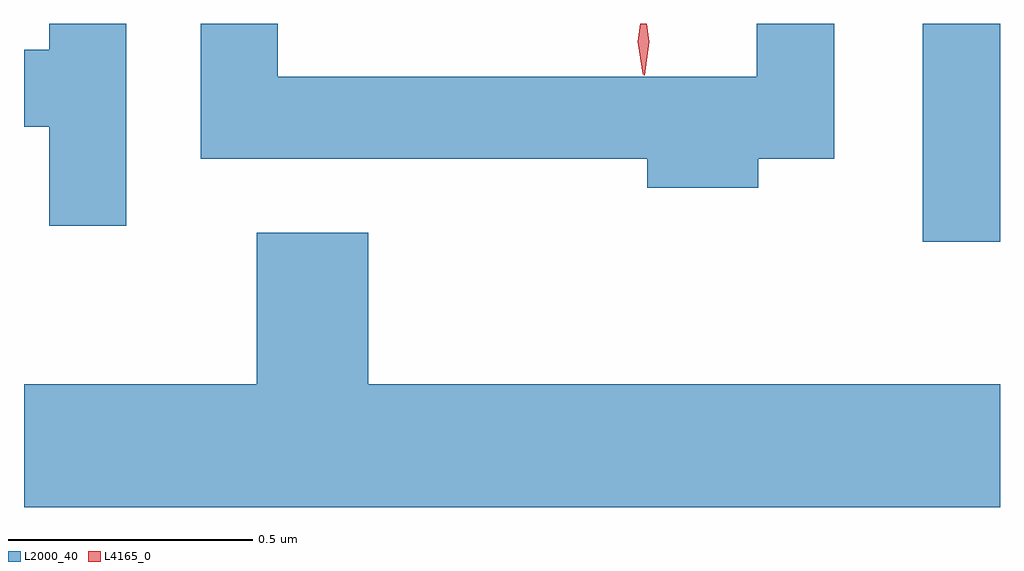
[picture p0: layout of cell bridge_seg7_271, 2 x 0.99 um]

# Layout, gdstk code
import gdstk
lib = gdstk.Library(unit=1e-6, precision=1e-09)
def R(c, l, rs):  # rectangles x0, y0, x1, y1
    for r in rs: c.add(gdstk.rectangle(r[:2], r[2:], *l))
def P(c, l, *ps):  # polygons
    for p in ps: c.add(gdstk.Polygon(p, *l))
L2000_40 = (2000, 40)
L4165_0 = (4165, 0)

bridge_seg7_271 = lib.new_cell('bridge_seg7_271')
R(bridge_seg7_271, L2000_40, [(1378.946,1805.896,1379.104,1806.342)])
P(bridge_seg7_271, L2000_40, [(1377.314,1806.342),(1377.156,1806.342),(1377.156,1806.289),(1377.104,1806.289),(1377.104,1806.131),(1377.156,1806.131),(1377.156,1805.928),(1377.314,1805.928)],
  [(1378.609,1806.066),(1378.764,1806.066),(1378.764,1806.342),(1378.606,1806.342),(1378.606,1806.234),(1377.624,1806.234),(1377.624,1806.342),(1377.466,1806.342),(1377.466,1806.066),(1378.381,1806.066),(1378.381,1806.006),(1378.609,1806.006)],
  [(1379.104,1805.604),(1377.809,1805.604),(1377.809,1805.914),(1377.581,1805.914),(1377.581,1805.604),(1377.104,1805.604),(1377.104,1805.352),(1379.104,1805.352)])
P(bridge_seg7_271, L4165_0, [(1378.374,1806.237),(1378.365,1806.306),(1378.37,1806.342),(1378.38,1806.342),(1378.385,1806.306),(1378.376,1806.237)],
  [(1378.372,1806.239),(1378.372,1806.24),(1378.362,1806.306),(1378.367,1806.342),(1378.377,1806.342),(1378.382,1806.306),(1378.373,1806.24)])

lib.write_gds('bridge_seg7_271.gds')
